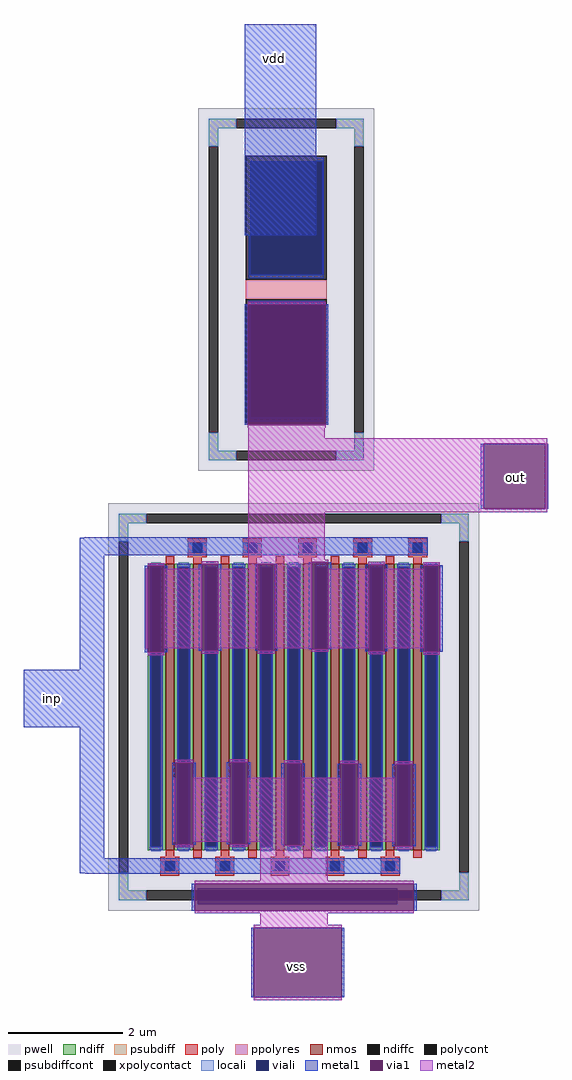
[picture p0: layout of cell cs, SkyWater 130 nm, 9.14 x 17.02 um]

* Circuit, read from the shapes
.subckt cs vdd out inp vss
XM1 vss inp out vss sky130_fd_pr__nfet_01v8 w=5 l=0.15 m=10
XR2 vdd out vss sky130_fd_pr__res_high_po w=1.41 l=0.34
.ends

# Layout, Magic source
magic
tech sky130A
magscale 1 2
<< viali >>
rect 2524 -976 3220 -920
<< metal1 >>
rect 2688 1358 2938 2094
rect 2688 696 2698 1116
rect 2970 696 2980 1116
rect 3512 404 3522 630
rect 3736 404 3746 630
rect 2130 302 3326 304
rect 2112 242 3326 302
rect 2112 -158 2198 242
rect 2340 -98 2350 204
rect 2408 -98 2418 204
rect 2528 -92 2538 210
rect 2596 -92 2606 210
rect 2724 -92 2734 210
rect 2792 -92 2802 210
rect 2912 -86 2922 216
rect 2980 -86 2990 216
rect 3108 -94 3118 208
rect 3176 -94 3186 208
rect 3300 -96 3310 206
rect 3368 -96 3378 206
rect 1918 -358 2198 -158
rect 2112 -816 2198 -358
rect 2436 -768 2446 -482
rect 2508 -768 2518 -482
rect 2626 -766 2636 -480
rect 2698 -766 2708 -480
rect 2816 -770 2826 -484
rect 2888 -770 2898 -484
rect 3012 -772 3022 -486
rect 3084 -772 3094 -486
rect 3202 -774 3212 -488
rect 3274 -774 3284 -488
rect 2112 -868 3230 -816
rect 2132 -870 3230 -868
rect 2504 -998 2514 -904
rect 3278 -998 3288 -904
rect 2710 -1300 2720 -1058
rect 3026 -1300 3036 -1058
<< via1 >>
rect 2698 696 2970 1116
rect 3522 404 3736 630
rect 2350 -98 2408 204
rect 2538 -92 2596 210
rect 2734 -92 2792 210
rect 2922 -86 2980 216
rect 3118 -94 3176 208
rect 3310 -96 3368 206
rect 2446 -768 2508 -482
rect 2636 -766 2698 -480
rect 2826 -770 2888 -484
rect 3022 -772 3084 -486
rect 3212 -774 3274 -488
rect 2514 -920 3278 -904
rect 2514 -976 2524 -920
rect 2524 -976 3220 -920
rect 3220 -976 3278 -920
rect 2514 -998 3278 -976
rect 2720 -1300 3026 -1058
<< metal2 >>
rect 2698 1116 2970 1126
rect 2698 686 2970 696
rect 2700 650 2968 686
rect 2700 630 3744 650
rect 2700 404 3522 630
rect 3736 404 3744 630
rect 2700 392 3744 404
rect 2700 226 2968 392
rect 2350 204 2408 214
rect 2342 -84 2350 194
rect 2538 210 2596 220
rect 2408 -84 2538 194
rect 2350 -108 2408 -98
rect 2700 216 2980 226
rect 2700 210 2922 216
rect 2700 194 2734 210
rect 2596 -84 2734 194
rect 2538 -102 2596 -92
rect 2792 -84 2922 210
rect 2734 -102 2792 -92
rect 3118 208 3176 218
rect 2980 -84 3118 194
rect 2922 -96 2980 -86
rect 3310 206 3368 216
rect 3176 -84 3310 194
rect 3118 -104 3176 -94
rect 3368 -84 3370 194
rect 3310 -106 3368 -96
rect 2446 -482 2508 -472
rect 2440 -758 2446 -534
rect 2636 -480 2698 -470
rect 2508 -758 2636 -534
rect 2446 -778 2508 -768
rect 2826 -484 2888 -474
rect 2698 -758 2826 -534
rect 2636 -776 2698 -766
rect 2742 -770 2826 -758
rect 3022 -486 3084 -476
rect 2888 -758 3022 -534
rect 2888 -770 2978 -758
rect 2742 -894 2978 -770
rect 3212 -488 3274 -478
rect 3084 -758 3212 -534
rect 3022 -782 3084 -772
rect 3212 -784 3274 -774
rect 2514 -904 3278 -894
rect 2514 -1008 3278 -998
rect 2742 -1048 2978 -1008
rect 2720 -1058 3026 -1048
rect 2720 -1310 3026 -1300
use sky130_fd_pr__nfet_01v8_P4JNYZ  XM1
transform 1 0 2859 0 1 -288
box -647 -710 647 710
use sky130_fd_pr__res_high_po_1p41_DQDBL4  XR1
transform -1 0 2833 0 1 1168
box -307 -632 307 632
<< labels >>
flabel metal1 1918 -358 2118 -158 0 FreeSans 256 0 0 0 inp
port 2 nsew
flabel via1 2768 -1292 2968 -1092 0 FreeSans 256 0 0 0 vss
port 3 nsew
flabel metal1 2692 1874 2892 2074 0 FreeSans 256 0 0 0 vdd
port 0 nsew
flabel via1 3532 412 3732 612 0 FreeSans 256 0 0 0 out
port 1 nsew
<< end >>

# cell sky130_fd_pr__nfet_01v8_P4JNYZ: kit device sky130_fd_pr__nfet_01v8, w 5 l 0.15 m 1 nf 10 diffcov 100 polycov 100 guard 1 glc 1 grc 1 gtc 1 gbc 1 tbcov 100 rlcov 100 topc 1 botc 1 poverlap 0 doverlap 1 lmin 0.15 wmin 0.42 compatible {sky130_fd_pr__nfet_01v8 sky130_fd_pr__nfet_01v8_lvt sky130_fd_bs_flash__special_sonosfet_star sky130_fd_pr__nfet_g5v0d10v5 sky130_fd_pr__nfet_05v0_nvt sky130_fd_pr__nfet_03v3_nvt} full_metal 1 viasrc 100 viadrn 100 viagate 100 viagb 0 viagr 0 viagl 0 viagt 0

# cell sky130_fd_pr__res_high_po_1p41_DQDBL4: kit device sky130_fd_pr__res_high_po_1p41, w 1.410 l 0.5 m 1 nx 1 wmin 1.410 lmin 0.50 rho 319.8 val 389.744 dummy 0 dw 0.0 term 194.82 sterm 0.0 caplen 0 guard 1 glc 1 grc 1 gtc 1 gbc 1 compatible {sky130_fd_pr__res_high_po_0p35 sky130_fd_pr__res_high_po_0p69 sky130_fd_pr__res_high_po_1p41 sky130_fd_pr__res_high_po_2p85 sky130_fd_pr__res_high_po_5p73} snake 0 full_metal 1 wmax 1.410 n_guard 0 hv_guard 0 vias 1 viagb 0 viagt 0 viagl 0 viagr 0
